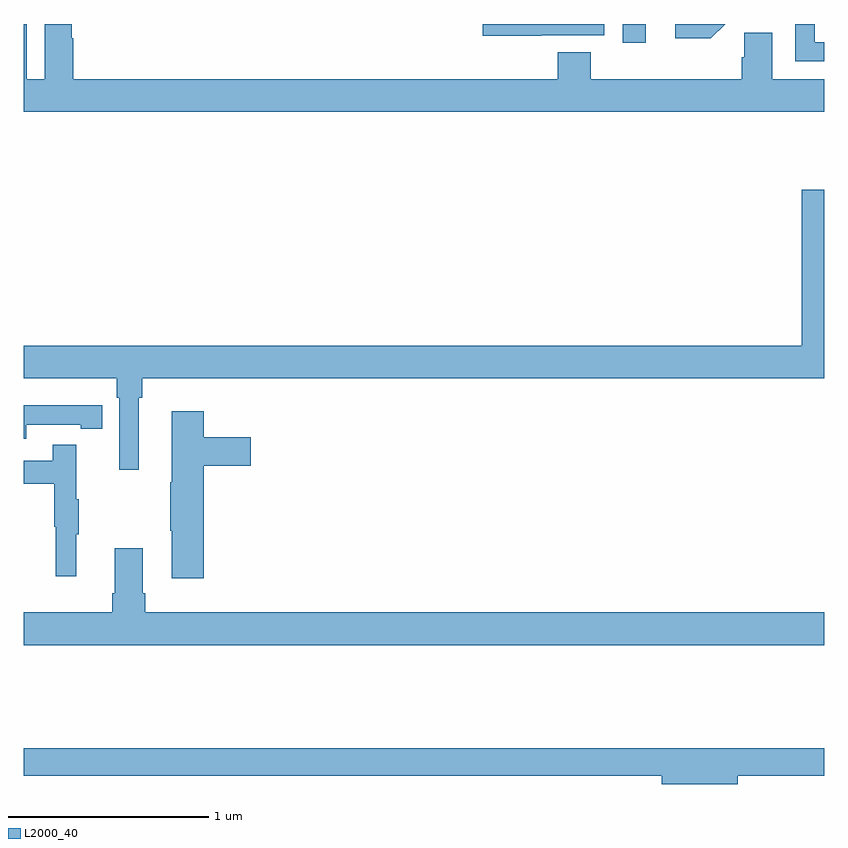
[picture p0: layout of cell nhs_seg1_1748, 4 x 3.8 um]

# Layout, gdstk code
import gdstk
lib = gdstk.Library(unit=1e-6, precision=1e-09)
def R(c, l, rs):  # rectangles x0, y0, x1, y1
    for r in rs: c.add(gdstk.rectangle(r[:2], r[2:], *l))
def P(c, l, *ps):  # polygons
    for p in ps: c.add(gdstk.Polygon(p, *l))
L2000_40 = (2000, 40)

nhs_seg1_1748 = lib.new_cell('nhs_seg1_1748')
R(nhs_seg1_1748, L2000_40, [(209.994,524.106,210.109,524.199)])
P(nhs_seg1_1748, L2000_40, [(211,523.924),(210.739,523.924),(210.739,524.156),(210.6,524.156),(210.6,524.033),(210.587,524.033),(210.587,523.924),(209.834,523.924),(209.834,524.057),(209.669,524.057),(209.669,523.924),(207.248,523.924),(207.248,524.129),(207.241,524.129),(207.241,524.199),(207.104,524.199),(207.104,523.924),(207.016,523.924),(207.016,524.199),(207,524.199),(207,523.76),(211,523.76)],
  [(211,524.109),(210.951,524.109),(210.951,524.199),(210.855,524.199),(210.855,524.013),(211,524.013)],
  [(209.585,524.142),(209.901,524.142),(209.901,524.199),(209.293,524.199),(209.293,524.141),(209.585,524.141)],
  [(210.504,524.199),(210.255,524.199),(210.255,524.129),(210.433,524.129)],
  [(207.574,522.332),(207.593,522.332),(207.593,522.428),(211,522.428),(211,523.371),(210.887,523.371),(210.887,522.592),(207,522.592),(207,522.428),(207.464,522.428),(207.464,522.332),(207.477,522.332),(207.477,521.973),(207.574,521.973)],
  [(207.012,522.198),(207.284,522.198),(207.284,522.178),(207.392,522.178),(207.392,522.294),(207.284,522.294),(207.284,522.295),(207,522.295),(207,522.126),(207.012,522.126)],
  [(207.899,521.993),(208.135,521.993),(208.135,522.135),(207.899,522.135),(207.899,522.265),(207.74,522.265),(207.74,521.909),(207.733,521.909),(207.733,521.668),(207.74,521.668),(207.74,521.43),(207.899,521.43)],
  [(207.263,521.651),(207.274,521.651),(207.274,521.825),(207.263,521.825),(207.263,522.097),(207.145,522.097),(207.145,522.018),(207,522.018),(207,521.902),(207.153,521.902),(207.153,521.688),(207.16,521.688),(207.16,521.439),(207.263,521.439)],
  [(211,521.26),(207.608,521.26),(207.608,521.356),(207.595,521.356),(207.595,521.581),(207.455,521.581),(207.455,521.356),(207.443,521.356),(207.443,521.26),(207,521.26),(207,521.096),(211,521.096)],
  [(210.568,520.444),(211,520.444),(211,520.58),(207,520.58),(207,520.444),(210.188,520.444),(210.188,520.402),(210.568,520.402)])

lib.write_gds('nhs_seg1_1748.gds')
